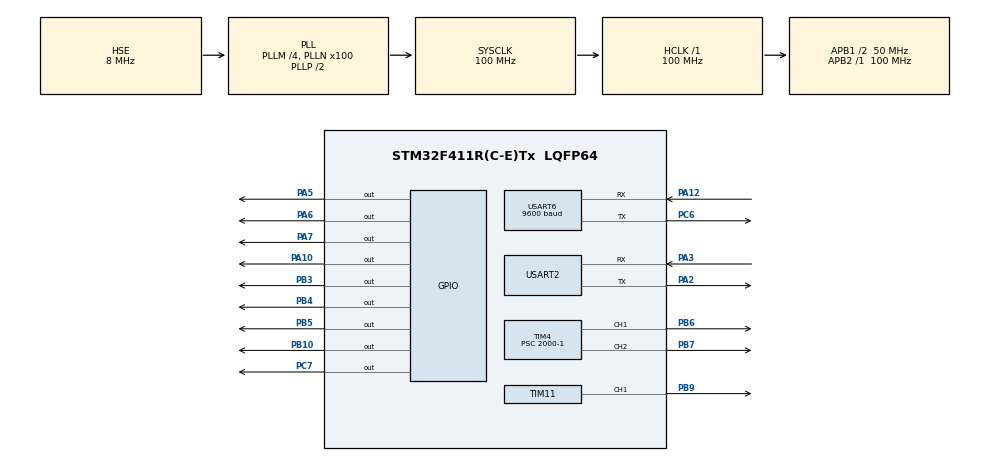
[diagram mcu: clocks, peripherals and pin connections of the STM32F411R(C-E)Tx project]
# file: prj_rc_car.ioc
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Dma.Request0=USART2_RX
Dma.Request1=USART6_RX
Dma.Request2=USART6_TX
Dma.USART2_RX.0.Direction=DMA_PERIPH_TO_MEMORY
Dma.USART2_RX.0.FIFOMode=DMA_FIFOMODE_DISABLE
Dma.USART2_RX.0.Instance=DMA1_Stream5
Dma.USART2_RX.0.MemDataAlignment=DMA_MDATAALIGN_BYTE
Dma.USART2_RX.0.MemInc=DMA_MINC_ENABLE
Dma.USART2_RX.0.Mode=DMA_NORMAL
Dma.USART2_RX.0.PeriphDataAlignment=DMA_PDATAALIGN_BYTE
Dma.USART2_RX.0.PeriphInc=DMA_PINC_DISABLE
Dma.USART2_RX.0.Priority=DMA_PRIORITY_LOW
Dma.USART6_RX.1.Direction=DMA_PERIPH_TO_MEMORY
Dma.USART6_RX.1.FIFOMode=DMA_FIFOMODE_DISABLE
Dma.USART6_RX.1.Instance=DMA2_Stream1
Dma.USART6_RX.1.MemDataAlignment=DMA_MDATAALIGN_BYTE
Dma.USART6_RX.1.MemInc=DMA_MINC_ENABLE
Dma.USART6_RX.1.Mode=DMA_NORMAL
Dma.USART6_RX.1.PeriphDataAlignment=DMA_PDATAALIGN_BYTE
Dma.USART6_RX.1.PeriphInc=DMA_PINC_DISABLE
Dma.USART6_RX.1.Priority=DMA_PRIORITY_LOW
Dma.USART6_TX.2.Direction=DMA_MEMORY_TO_PERIPH
Dma.USART6_TX.2.FIFOMode=DMA_FIFOMODE_DISABLE
Dma.USART6_TX.2.Instance=DMA2_Stream6
Dma.USART6_TX.2.MemDataAlignment=DMA_MDATAALIGN_BYTE
Dma.USART6_TX.2.MemInc=DMA_MINC_ENABLE
Dma.USART6_TX.2.Mode=DMA_NORMAL
Dma.USART6_TX.2.PeriphDataAlignment=DMA_PDATAALIGN_BYTE
Dma.USART6_TX.2.PeriphInc=DMA_PINC_DISABLE
Dma.USART6_TX.2.Priority=DMA_PRIORITY_LOW
FREERTOS.Tasks01=MOTOR_CONTROL,24,128,START_MOTOR_CONTROL,Default,NULL,Dynamic,NULL,NULL;UART,8,128,START_UART_TASK,Default,NULL,Dynamic,NULL,NULL;gearTask,8,128,Start_gearTask,Default,NULL,Dynamic,NULL,NULL
FREERTOS.configUSE_NEWLIB_REENTRANT=1
Mcu.Family=STM32F4
Mcu.Name=STM32F411R(C-E)Tx
Mcu.Package=LQFP64
NVIC.DMA1_Stream5_IRQn=true\:5\:0\:false\:false\:true\:true\:false\:true\:true
NVIC.DMA2_Stream1_IRQn=true\:5\:0\:false\:false\:true\:true\:false\:true\:true
NVIC.DMA2_Stream6_IRQn=true\:5\:0\:false\:false\:true\:true\:false\:true\:true
NVIC.PriorityGroup=NVIC_PRIORITYGROUP_4
NVIC.TIM1_BRK_TIM9_IRQn=true\:5\:0\:false\:false\:true\:true\:true\:true\:true
NVIC.TIM1_UP_TIM10_IRQn=true\:5\:0\:false\:false\:true\:false\:false\:true\:true
NVIC.TIM5_IRQn=true\:5\:0\:false\:false\:true\:true\:true\:true\:true
NVIC.TimeBase=TIM1_UP_TIM10_IRQn
NVIC.TimeBaseIP=TIM10
NVIC.USART6_IRQn=true\:5\:0\:false\:false\:true\:true\:true\:true\:true
PA10.Signal=GPIO_Output
PA12.Mode=Asynchronous
PA12.Signal=USART6_RX
PA13.Mode=Serial_Wire
PA13.Signal=SYS_JTMS-SWDIO
PA14.Mode=Serial_Wire
PA14.Signal=SYS_JTCK-SWCLK
PA2.Mode=Asynchronous
PA2.Signal=USART2_TX
PA3.Mode=Asynchronous
PA3.Signal=USART2_RX
PA5.Signal=GPIO_Output
PA6.Signal=GPIO_Output
PA7.Signal=GPIO_Output
PB10.Signal=GPIO_Output
PB3.Signal=GPIO_Output
PB4.Signal=GPIO_Output
PB5.Signal=GPIO_Output
PB6.Signal=S_TIM4_CH1
PB7.Signal=S_TIM4_CH2
PB9.Signal=S_TIM11_CH1
PC6.Mode=Asynchronous
PC6.Signal=USART6_TX
PC7.Signal=GPIO_Output
PH0\ -\ OSC_IN.Mode=HSE-External-Oscillator
PH0\ -\ OSC_IN.Signal=RCC_OSC_IN
PH1\ -\ OSC_OUT.Mode=HSE-External-Oscillator
PH1\ -\ OSC_OUT.Signal=RCC_OSC_OUT
ProjectManager.HeapSize=0x200
ProjectManager.StackSize=0x400
ProjectManager.TargetToolchain=STM32CubeIDE
RCC.48MHZClocksFreq_Value=50000000
RCC.AHBFreq_Value=100000000
RCC.APB1CLKDivider=RCC_HCLK_DIV2
RCC.APB1Freq_Value=50000000
RCC.APB1TimFreq_Value=100000000
RCC.APB2Freq_Value=100000000
RCC.APB2TimFreq_Value=100000000
RCC.CortexFreq_Value=100000000
RCC.HCLKFreq_Value=100000000
RCC.HSE_VALUE=8000000
RCC.HSI_VALUE=16000000
RCC.LSE_VALUE=32768
RCC.PLLM=4
RCC.PLLN=100
RCC.PLLSourceVirtual=RCC_PLLSOURCE_HSE
RCC.SYSCLKFreq_VALUE=100000000
RCC.SYSCLKSource=RCC_SYSCLKSOURCE_PLLCLK
RCC.VCOOutputFreq_Value=200000000
SH.S_TIM11_CH1.0=TIM11_CH1,PWM Generation1 CH1
SH.S_TIM4_CH1.0=TIM4_CH1,PWM Generation1 CH1
SH.S_TIM4_CH2.0=TIM4_CH2,PWM Generation2 CH2
TIM11.Channel=TIM_CHANNEL_1
TIM11.Period=389-1
TIM11.Prescaler=392-1
TIM4.Channel-PWM\ Generation1\ CH1=TIM_CHANNEL_1
TIM4.Channel-PWM\ Generation2\ CH2=TIM_CHANNEL_2
TIM4.Period=1000-1
TIM4.Prescaler=2000-1
TIM5.Period=5000-1
TIM5.Prescaler=10000-1
TIM9.Period=5000-1
TIM9.Prescaler=10000-1
USART2.VirtualMode=VM_ASYNC
USART6.BaudRate=9600
USART6.VirtualMode=VM_ASYNC
VP_FREERTOS_VS_CMSIS_V2.Mode=CMSIS_V2
VP_SYS_VS_tim10.Mode=TIM10
VP_TIM11_VS_ClockSourceINT.Mode=Enable_Timer
VP_TIM5_VS_ClockSourceINT.Mode=Internal
VP_TIM9_VS_ClockSourceINT.Mode=Internal
board=custom

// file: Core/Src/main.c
/* USER CODE BEGIN Header */
/**
  ******************************************************************************
  * @file           : main.c
  * @brief          : Main program body
  ******************************************************************************
  * @attention
  *
  * Copyright (c) 2025 STMicroelectronics.
  * All rights reserved.
  *
  * This software is licensed under terms that can be found in the LICENSE file
  * in the root directory of this software component.
  * If no LICENSE file comes with this software, it is provided AS-IS.
  *
  ******************************************************************************
  */
/* USER CODE END Header */
#include "main.h"
#include "cmsis_os.h"
#include "dma.h"
#include "tim.h"
#include "usart.h"
#include "gpio.h"

void SystemClock_Config(void);
void MX_FREERTOS_Init(void);

int main(void)
{

  /* MCU Configuration--------------------------------------------------------*/

  /* Reset of all peripherals, Initializes the Flash interface and the Systick. */
  HAL_Init();

  /* Configure the system clock */
  SystemClock_Config();

  /* Initialize all configured peripherals */
  MX_GPIO_Init();
  MX_DMA_Init();
  MX_USART2_UART_Init();
  MX_TIM4_Init();
  MX_USART6_UART_Init();
  MX_TIM11_Init();
  MX_TIM5_Init();
  MX_TIM9_Init();
  /* USER CODE BEGIN 2 */
  HAL_TIM_PWM_Start(&htim4, TIM_CHANNEL_1);
  HAL_TIM_PWM_Start(&htim4, TIM_CHANNEL_2);
  HAL_TIM_PWM_Start(&htim11, TIM_CHANNEL_1);

  /* USER CODE END 2 */

  /* Init scheduler */
  osKernelInitialize();  /* Call init function for freertos objects (in cmsis_os2.c) */
  MX_FREERTOS_Init();

  /* Start scheduler */
  osKernelStart();

  /* We should never get here as control is now taken by the scheduler */

  /* Infinite loop */
  while (1)
  {

  }
}

void SystemClock_Config(void)
{
  RCC_OscInitTypeDef RCC_OscInitStruct = {0};
  RCC_ClkInitTypeDef RCC_ClkInitStruct = {0};

  /** Configure the main internal regulator output voltage
  */
  __HAL_RCC_PWR_CLK_ENABLE();
  __HAL_PWR_VOLTAGESCALING_CONFIG(PWR_REGULATOR_VOLTAGE_SCALE1);

  /** Initializes the RCC Oscillators according to the specified parameters
  * in the RCC_OscInitTypeDef structure.
  */
  RCC_OscInitStruct.OscillatorType = RCC_OSCILLATORTYPE_HSE;
  RCC_OscInitStruct.HSEState = RCC_HSE_ON;
  RCC_OscInitStruct.PLL.PLLState = RCC_PLL_ON;
  RCC_OscInitStruct.PLL.PLLSource = RCC_PLLSOURCE_HSE;
  RCC_OscInitStruct.PLL.PLLM = 4;
  RCC_OscInitStruct.PLL.PLLN = 100;
  RCC_OscInitStruct.PLL.PLLP = RCC_PLLP_DIV2;
  RCC_OscInitStruct.PLL.PLLQ = 4;
  if (HAL_RCC_OscConfig(&RCC_OscInitStruct) != HAL_OK)
  {
    Error_Handler();
  }

  /** Initializes the CPU, AHB and APB buses clocks
  */
  RCC_ClkInitStruct.ClockType = RCC_CLOCKTYPE_HCLK|RCC_CLOCKTYPE_SYSCLK
                              |RCC_CLOCKTYPE_PCLK1|RCC_CLOCKTYPE_PCLK2;
  RCC_ClkInitStruct.SYSCLKSource = RCC_SYSCLKSOURCE_PLLCLK;
  RCC_ClkInitStruct.AHBCLKDivider = RCC_SYSCLK_DIV1;
  RCC_ClkInitStruct.APB1CLKDivider = RCC_HCLK_DIV2;
  RCC_ClkInitStruct.APB2CLKDivider = RCC_HCLK_DIV1;

  if (HAL_RCC_ClockConfig(&RCC_ClkInitStruct, FLASH_LATENCY_3) != HAL_OK)
  {
    Error_Handler();
  }
}

void HAL_TIM_PeriodElapsedCallback(TIM_HandleTypeDef *htim)
{
  /* USER CODE BEGIN Callback 0 */
	if(htim->Instance == TIM5) {
		HAL_GPIO_TogglePin(GPIOB, GPIO_PIN_4);
	}
	if(htim->Instance == TIM9) {
		HAL_GPIO_TogglePin(GPIOB, GPIO_PIN_5);
	}
  /* USER CODE END Callback 0 */
  if (htim->Instance == TIM10)
  {
    HAL_IncTick();
  }
}

void Error_Handler(void)
{
  __disable_irq();
  while (1)
  {
  }
}

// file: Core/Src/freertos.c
/* USER CODE BEGIN Header */
/**
  ******************************************************************************
  * File Name          : freertos.c
  * Description        : Code for freertos applications
  ******************************************************************************
  * @attention
  *
  * Copyright (c) 2025 STMicroelectronics.
  * All rights reserved.
  *
  * This software is licensed under terms that can be found in the LICENSE file
  * in the root directory of this software component.
  * If no LICENSE file comes with this software, it is provided AS-IS.
  *
  ******************************************************************************
  */
/* USER CODE END Header */

#include "FreeRTOS.h"
#include "task.h"
#include "main.h"
#include "cmsis_os.h"

/* USER CODE BEGIN Includes */
#include "string.h"
#include "motor.h"

/* USER CODE END Includes */

/* USER CODE BEGIN PTD */
extern UART_HandleTypeDef huart2;
extern UART_HandleTypeDef huart6;

extern TIM_HandleTypeDef htim5;
extern TIM_HandleTypeDef htim9;
/* USER CODE END PTD */

/* USER CODE BEGIN Variables */
uint8_t rxData[2];
uint8_t btrxData[2];
uint8_t honkState;
uint8_t tlSignal;
uint8_t trSignal;
uint8_t brkSignal;

int fwState;
int bwState;
int footBreak;
int handleState;
int gearSignal;

volatile int gearShift;

volatile uint8_t tx_busy = 0;

char gear0[] = "z";
char gear1[] = "o";
char gear2[] = "t";
/* USER CODE END Variables */
/* Definitions for MOTOR_CONTROL */
osThreadId_t MOTOR_CONTROLHandle;
const osThreadAttr_t MOTOR_CONTROL_attributes = {
  .name = "MOTOR_CONTROL",
  .stack_size = 128 * 4,
  .priority = (osPriority_t) osPriorityNormal,
};
/* Definitions for UART */
osThreadId_t UARTHandle;
const osThreadAttr_t UART_attributes = {
  .name = "UART",
  .stack_size = 128 * 4,
  .priority = (osPriority_t) osPriorityLow,
};
/* Definitions for gearTask */
osThreadId_t gearTaskHandle;
const osThreadAttr_t gearTask_attributes = {
  .name = "gearTask",
  .stack_size = 128 * 4,
  .priority = (osPriority_t) osPriorityLow,
};

/* USER CODE BEGIN FunctionPrototypes */
void HAL_UART_RxCpltCallback(UART_HandleTypeDef *huart) {
	HAL_UART_Receive_DMA(&huart6, btrxData, 1);

	if(btrxData[0] == 'b') {
		allStop();
		brkSignal = 0xff;
	}

	else if(btrxData[0] == 'w') {
		moveForward();
		tlSignal = 0x00;
		trSignal = 0x00;
		brkSignal = 0x00;
	}
	else if(btrxData[0] == 's') {
		moveBackward();
		tlSignal = 0x00;
		trSignal = 0x00;
		brkSignal = 0x00;
	}
	else if(btrxData[0] == 'a') {
		turnLeft();
		brkSignal = 0x00;
	}
	else if(btrxData[0] == 'd') {
		turnRight();
		brkSignal = 0x00;
	}

	if(btrxData[0] == 'l') {
		gearSignal = 1;
	}
	else if(btrxData[0] == 'p') {
		gearSignal = 2;
	}

	if(btrxData[0] == 'h') {
		honkState = ~honkState;
	}

	if(btrxData[0] == 'q') {
		tlSignal = ~tlSignal;
	}
	else if(btrxData[0] == 'e') {
		trSignal = ~trSignal;
	}

}

void HAL_UART_TxCpltCallback(UART_HandleTypeDef *huart) {
    if (huart->Instance == USART6) {
        tx_busy = 0;
    }
}
/* USER CODE END FunctionPrototypes */

void START_MOTOR_CONTROL(void *argument);
void START_UART_TASK(void *argument);
void Start_gearTask(void *argument);

void MX_FREERTOS_Init(void); /* (MISRA C 2004 rule 8.1) */

void MX_FREERTOS_Init(void) {
  /* USER CODE BEGIN Init */
	HAL_UART_Receive_DMA(&huart2, rxData, 1);
	HAL_UART_Receive_DMA(&huart6, btrxData, 1);
	HAL_TIM_Base_Start(&htim5);
  /* USER CODE END Init */

  /* Create the thread(s) */
  /* creation of MOTOR_CONTROL */
  MOTOR_CONTROLHandle = osThreadNew(START_MOTOR_CONTROL, NULL, &MOTOR_CONTROL_attributes);

  /* creation of UART */
  UARTHandle = osThreadNew(START_UART_TASK, NULL, &UART_attributes);

  /* creation of gearTask */
  gearTaskHandle = osThreadNew(Start_gearTask, NULL, &gearTask_attributes);

}

void START_MOTOR_CONTROL(void *argument)
{
  /* USER CODE BEGIN START_MOTOR_CONTROL */
	int prevGearShift = -1;
  /* Infinite loop */
	for(;;)
	{
		if(gearShift == 0) {
			gearZero();
		}
		else if(gearShift == 1) {
			gearFirst();
		}
		else if(gearShift == 2) {
			gearSecond();
		}
		if(footBreak == 1) {
			allStop();
		}

		if(gearShift != prevGearShift && tx_busy == 0) {
			prevGearShift = gearShift;
			tx_busy = 1;
			if(gearShift == 0) {
				HAL_UART_Transmit_DMA(&huart6, (uint8_t *)gear0, strlen(gear0));
			}
			else if(gearShift == 1) {
				HAL_UART_Transmit_DMA(&huart6, (uint8_t *)gear1, strlen(gear1));
			}
			else if(gearShift == 2) {
				HAL_UART_Transmit_DMA(&huart6, (uint8_t *)gear2, strlen(gear2));
			}
		}
    osDelay(10);
  }
  /* USER CODE END START_MOTOR_CONTROL */
}

void START_UART_TASK(void *argument)
{
  /* USER CODE BEGIN START_UART_TASK */
  /* Infinite loop */
  for(;;)
  {
	  if(honkState == 0x00) {
		  TIM11->CCR1 = 0;
	  }
	  else if(honkState == 0xff) {
		  TIM11->CCR1 = 194;
	  }

	  if(tlSignal == 0x00) {
		  HAL_GPIO_WritePin(GPIOB, GPIO_PIN_4, GPIO_PIN_RESET);
		  HAL_TIM_Base_Stop_IT(&htim5);
	  }
	  else if(tlSignal == 0xff) {
		  HAL_TIM_Base_Start_IT(&htim5);
	  }

	  if(trSignal == 0x00) {
		  HAL_GPIO_WritePin(GPIOB, GPIO_PIN_5, GPIO_PIN_RESET);
		  HAL_TIM_Base_Stop_IT(&htim9);
	  }
	  else if(trSignal == 0xff) {
		  HAL_TIM_Base_Start_IT(&htim9);
	  }

	  if(brkSignal == 0xff) {
		  HAL_GPIO_WritePin(GPIOB, GPIO_PIN_3, GPIO_PIN_SET);
		  HAL_GPIO_WritePin(GPIOA, GPIO_PIN_10, GPIO_PIN_SET);
	  }
	  else if(brkSignal == 0x00) {
		  HAL_GPIO_WritePin(GPIOB, GPIO_PIN_3, GPIO_PIN_RESET);
		  HAL_GPIO_WritePin(GPIOA, GPIO_PIN_10, GPIO_PIN_RESET);
	  }
	  osDelay(10);
  }
  /* USER CODE END START_UART_TASK */
}

void Start_gearTask(void *argument)
{
  /* USER CODE BEGIN Start_gearTask */
  /* Infinite loop */
  for(;;)
  {
		if(gearSignal == 1) {
			if(gearShift > 0) {
				gearShift -= 1;
			}
			HAL_Delay(200);
			gearSignal = 0;
		}
		else if(gearSignal == 2) {
			if(gearShift < 2) {
				gearShift += 1;
			}
			HAL_Delay(200);
			gearSignal = 0;
		}
    osDelay(10);
  }
  /* USER CODE END Start_gearTask */
}
